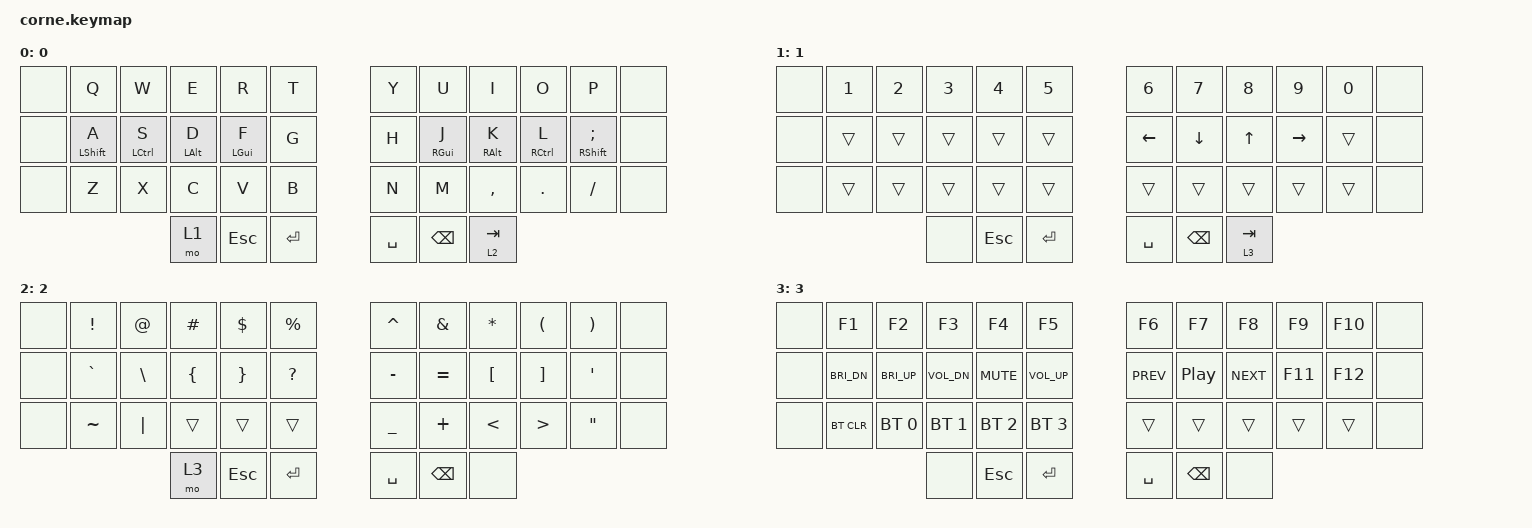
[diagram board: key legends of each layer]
/*
 * Copyright (c) 2020 The ZMK Contributors
 *
 * SPDX-License-Identifier: MIT
 */

#include <behaviors.dtsi>
#include <dt-bindings/zmk/keys.h>
#include <dt-bindings/zmk/bt.h>


&mt {
  tapping-term-ms = <200>;
  flavor = "tap-preferred";
  quick-tap-ms = <0>;
};

/ {
    combos {
      compatible = "zmk,combos";
      combo_caps {
        timeout-ms = <75>;
        key-positions = <14 21>;
        bindings = <&caps_word>;
      };
    };
};

/ {
        keymap {
                compatible = "zmk,keymap";

                0 {
                bindings = <
   &none &kp Q        &kp W       &kp E         &kp R         &kp T           &kp Y     &kp U       &kp I       &kp O       &kp P           &none
   &none &mt LSHFT A  &mt LCTRL S &mt LALT D    &mt LGUI F    &kp G           &kp H     &mt RGUI J  &mt RALT K  &mt RCTRL L &mt RSHFT SEMI  &none
   &none &kp Z        &kp X       &kp C         &kp V         &kp B           &kp N     &kp M       &kp COMMA   &kp DOT     &kp FSLH        &none
                            &mo 1 &kp ESC       &kp RET         &kp SPACE &kp BSPC    &lt 2 TAB
                        >;
                };
                1 {
                bindings = <
   &none  &kp N1 &kp N2  &kp N3  &kp N4  &kp N5        &kp N6    &kp N7    &kp N8      &kp N9    &kp N0 &none
   &none  &trans &trans  &trans  &trans  &trans        &kp LEFT  &kp DOWN  &kp UP      &kp RIGHT &trans &none
   &none  &trans &trans  &trans  &trans  &trans        &trans    &trans    &trans      &trans    &trans &none
                  &none  &kp ESC &kp RET       &kp SPACE &kp BSPC  &lt 3 TAB
                        >;
                };

                2 {
                bindings = <
   &none  &kp EXCL   &kp AT    &kp HASH      &kp DLLR  &kp PRCNT       &kp CARET &kp AMPS  &kp ASTRK &kp LPAR  &kp RPAR &none
   &none  &kp GRAVE  &kp BSLH  &kp LBRC      &kp RBRC  &kp QMARK       &kp MINUS &kp EQUAL &kp LBKT  &kp RBKT  &kp SQT  &none
   &none  &kp TILDE  &kp PIPE  &trans        &trans    &trans          &kp UNDER &kp PLUS  &kp LT    &kp GT    &kp DQT  &none
                        &mo 3  &kp ESC   &kp RET         &kp SPACE &kp BSPC  &none
                        >;
                };
                3 {
                bindings = <
    &none &kp F1        &kp F2        &kp F3        &kp F4        &kp F5              &kp F6      &kp F7    &kp F8      &kp F9  &kp F10 &none
    &none &kp C_BRI_DN  &kp C_BRI_UP  &kp C_VOL_DN  &kp C_MUTE    &kp C_VOL_UP        &kp C_PREV  &kp C_PP  &kp C_NEXT  &kp F11 &kp F12 &none
    &none &bt BT_CLR    &bt BT_SEL 0  &bt BT_SEL 1  &bt BT_SEL 2  &bt BT_SEL 3        &trans      &trans    &trans      &trans  &trans  &none
                                &none        &kp ESC       &kp RET             &kp SPACE   &kp BSPC  &none
                        >;
                };
        };
};
